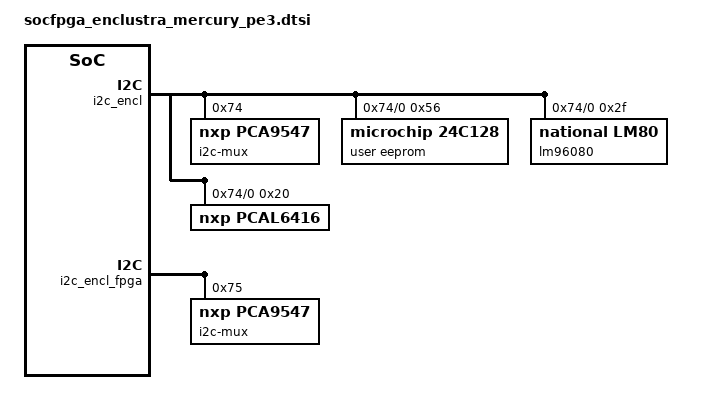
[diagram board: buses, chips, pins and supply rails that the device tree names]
// SPDX-License-Identifier: GPL-2.0+ OR MIT
/*
 * Copyright (C) 2024 Enclustra GmbH - https://www.enclustra.com
 */

&i2c_encl {
	i2c-mux@74 {
		status = "okay";
		compatible = "nxp,pca9547";
		#address-cells = <1>;
		#size-cells = <0>;
		reg = <0x74>;

		i2c@0 {
			#address-cells = <1>;
			#size-cells = <0>;
			reg = <0>;

			eeprom@56 {
				status = "okay";
				compatible = "microchip,24c128";
				reg = <0x56>;
				pagesize = <64>;
				label = "user eeprom";
				address-width = <16>;
			};

			lm96080: temperature-sensor@2f {
				status = "okay";
				compatible = "national,lm80";
				reg = <0x2f>;
			};

			pcal6416: gpio@20 {
				status = "okay";
				compatible = "nxp,pcal6416";
				reg = <0x20>;
				gpio-controller;
				#gpio-cells = <2>;
			};
		};
	};
};

&i2c_encl_fpga {
	status = "okay";

	i2c-mux@75 {
		status = "okay";
		compatible = "nxp,pca9547";
		#address-cells = <1>;
		#size-cells = <0>;
		reg = <0x75>;
	};
};
